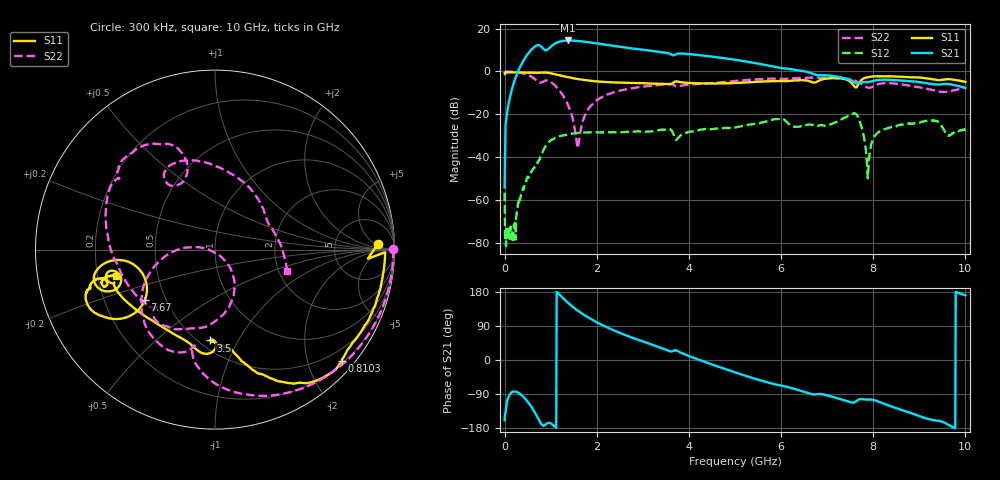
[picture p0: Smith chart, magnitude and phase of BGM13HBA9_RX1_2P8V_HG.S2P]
!Agilent Technologies,E5071C,MY46316587,B.13.01
!Date: Thu Dec 07 13:10:43 2017
!Data & Calibration Information:
!Freq	S11:SOLT2(ON)	S21:SOLT2(ON)	S12:SOLT2(ON)	S22:SOLT2(ON)
!PortZ  Port1:50+j0  Port2:50+j0
!Above PortZ is port z conversion or system Z0 setting when saving the data.
!When reading, reference impedance value at option line is always used.
# Hz S RI R 50
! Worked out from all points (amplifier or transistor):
!   1001 points, 300 kHz to 10 GHz, reference 50 ohm
!   highest |S21| = 14.5 dB at 1.37 GHz (marker M1)
!   |S21| within 3 dB of that: 997.2 MHz to 2.522 GHz (1.524 GHz wide, 86.6 % of centre) (the widest 1 of 2)
!   unconditionally stable (mu >= 1): start of sweep to end of sweep
!   at 1.66 GHz: K = 1.62, MAG = 16.8 dB, |S12| = -28.7 dB
!   at 5 GHz: K = 2.23, MAG = 9.6 dB, |S12| = -26.2 dB
!   at 10 GHz: K = 15.16, MAG = -5.1 dB, |S12| = -27.2 dB
!   lowest NFmin = 0.76 dB at 1.8 GHz
!   S11 on the Smith chart (normalised r, x): 300 kHz: 18, +7; 810.3 MHz: 0.25, -2.63; 3.5 GHz: 0.57, -0.77; 7.67 GHz: 0.38, -0.28; 10 GHz: 0.28, -0.12
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300000  0.9081 0.0326  -0.00179 -0.000681  0.00143 0.000371  0.9933 0.000743
9.02973e7  0.9445 -0.0761  -0.0188 -0.1816  -1.29e-06 0.000211  0.9625 -0.2344
3.702889e8  0.891 -0.3128  -0.071 -1.504  -0.00132 -0.000417  0.5052 -0.765
5.902823e8  0.801 -0.4752  -1.897 -2.71  -0.00458 -0.000292  -0.00221 -0.7444
7.202784e8  0.7412 -0.5549  -3.646 -1.893  -0.00725 -0.000406  -0.1271 -0.5653
8.102757e8  0.7055 -0.621  -3.668 -0.6146  -0.0118 -0.000777  -0.1237 -0.5431
9.202724e8  0.6086 -0.7095  -3.11 -0.7087  -0.019 0.00508  -0.2887 -0.5424
1.050268e9  0.4705 -0.741  -4.129 -0.6417  -0.0199 0.0164  -0.4107 -0.3152
1.200264e9  0.3436 -0.7299  -4.931 0.767  -0.0161 0.0261  -0.3342 -0.09
1.370259e9  0.2564 -0.6925  -4.657 2.524  -0.00967 0.0314  -0.169 0.0106
1.570253e9  0.1802 -0.6435  -3.453 3.868  -0.00135 0.0358  -0.0168 -0.00935
1.67025e9  0.1554 -0.626  -2.773 4.225  0.0021 0.037  0.035 -0.0406
1.970241e9  0.109 -0.578  -0.9084 4.48  0.0107 0.0359  0.1058 -0.1666
2.400228e9  0.0729 -0.5475  0.9068 3.809  0.0167 0.034  0.0746 -0.3248
3.3402e9  -0.0113 -0.5137  2.4 1.619  0.0255 0.0337  -0.1877 -0.4426
3.500195e9  -0.0257 -0.5064  2.433 1.253  0.0302 0.0322  -0.2637 -0.4294
5.00015e9  -0.3842 -0.3744  1.581 -1.012  0.0278 0.0402  -0.5942 0.0586
6.6701e9  -0.5492 -0.1241  -0.00209 -0.9003  0.0499 0.0266  -0.5019 0.5122
7.67007e9  -0.3907 -0.2809  -0.1388 -0.5066  0.0682 -0.0516  -0.1807 0.5341
7.890063e9  -0.6364 -0.3681  -0.1419 -0.5489  0.0033 0.00272  -0.1841 0.3727
8.34005e9  -0.7208 -0.2733  -0.3213 -0.5516  0.0361 0.0317  -0.2124 0.4873
1e10  -0.5513 -0.1446  -0.4066 0.0655  0.0437 -0.00369  0.4025 -0.1194
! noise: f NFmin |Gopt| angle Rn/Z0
1.8e+09  0.7605  0.4763  60.22  0.1975
1.9e+09  0.7877  0.4514  63.81  0.1926
2e+09  0.8187  0.3713  66.78  0.1993
2.1e+09  0.8405  0.3567  70.7  0.2398
2.2e+09  0.869  0.4759  75.89  0.1573
2.3e+09  0.9032  0.4794  76.91  0.1958
2.4e+09  0.9286  0.4349  78.39  0.1994
2.5e+09  0.9419  0.463  81.85  0.2059
2.6e+09  0.9592  0.4624  82.99  0.2078
2.7e+09  0.9897  0.4767  84.55  0.2118
